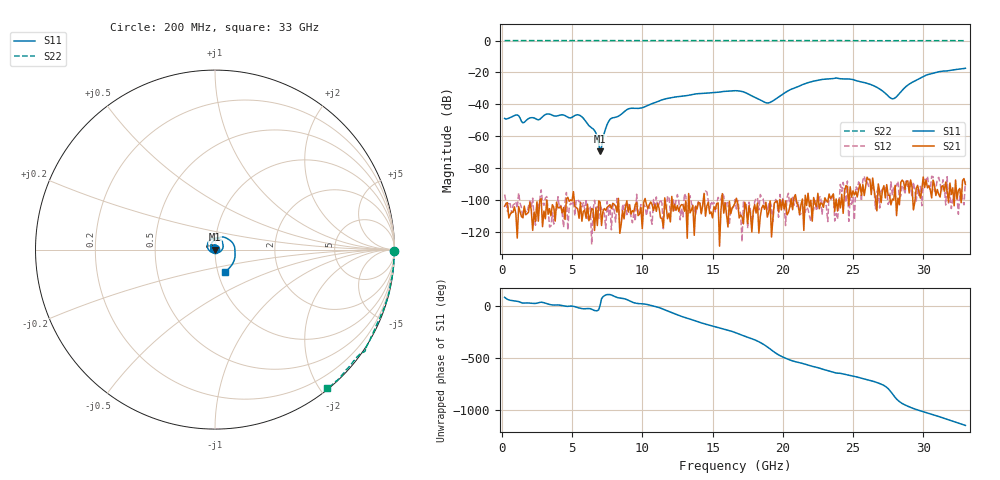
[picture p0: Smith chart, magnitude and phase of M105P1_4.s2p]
# GHZ S RI R 50
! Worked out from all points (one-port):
!   329 points, 200 MHz to 33 GHz, reference 50 ohm
!   lowest |S11| = -69.4 dB at 7 GHz (marker M1), VSWR 1.00, Z = 50 + j0.00357 ohm
!   |S11| at or under -10 dB: start of sweep to end of sweep
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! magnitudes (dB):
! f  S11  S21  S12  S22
! 200 MHz  -48.8  -103.9  -96.5  0.0
! 1.1 GHz  -46.6  -123.8  -105.2  0.0
! 1.5 GHz  -51.6  -111.0  -111.6  0.0
! 2.7 GHz  -49.4  -100.5  -99.9  0.0
! 3.2 GHz  -46.1  -99.9  -97.8  0.0
! 5.7 GHz  -47.8  -113.2  -104.4  0.0
! 6.7 GHz  -58.0  -105.0  -105.5  0.0
! 7 GHz  -69.4  -101.2  -102.6  0.0
! 7.3 GHz  -57.8  -105.3  -108.8  0.0
! 7.7 GHz  -49.4  -103.0  -102.9  0.0
! 9 GHz  -42.9  -107.6  -102.0  0.0
! 11.2 GHz  -37.9  -105.3  -102.0  0.0
! 16.6 GHz  -31.4  -101.9  -99.7  -0.1
! 19 GHz  -39.0  -107.6  -102.6  0.0
! 22.1 GHz  -25.6  -113.2  -106.2  0.0
! 24.9 GHz  -24.3  -98.1  -102.7  0.0
! 26.5 GHz  -28.4  -93.5  -93.8  -0.1
! 27.6 GHz  -35.5  -97.1  -100.6  -0.1
! 28 GHz  -35.9  -90.8  -91.7  -0.1
! 28.9 GHz  -27.9  -87.9  -91.4  -0.1
! 30.2 GHz  -21.7  -87.4  -88.0  0.0
! 33 GHz  -17.4  -90.3  -88.3  -0.1
